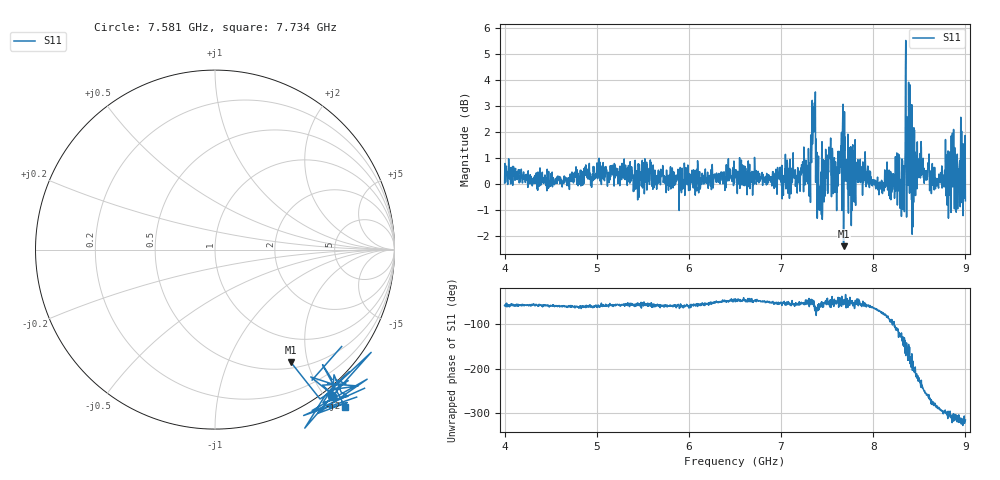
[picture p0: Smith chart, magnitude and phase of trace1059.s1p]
! Created with skrf 1.8.0 (http://scikit-rf.org).
# Hz S RI R 50.0
!freq ReS11 ImS11
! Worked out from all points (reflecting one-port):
!   1601 points, 4 GHz to 9 GHz, reference 50 ohm
!   lowest |S11| = -2.4 dB at 7.678 GHz (marker M1), VSWR 7.26, Z = 29.2 - j86.4 ohm
!   phase of S11 starts at -58 deg and turns -259 deg over the sweep
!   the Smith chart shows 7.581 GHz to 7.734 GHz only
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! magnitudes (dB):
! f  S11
! 4 GHz  0.0
! 4.625 GHz  -0.1
! 5.25 GHz  -0.1
! 5.875 GHz  0.2
! 6.5 GHz  0.4
! 7.125 GHz  0.5
! 7.294 GHz  0.0
! 7.347 GHz  2.8
! 7.362 GHz  3.1
! 7.412 GHz  -0.1
! 7.512 GHz  0.5
! 7.591 GHz  0.8
! 7.65 GHz  1.5
! 7.678 GHz  -2.4
! 7.75 GHz  -0.4
! 7.891 GHz  0.4
! 8.075 GHz  0.0
! 8.262 GHz  -0.8
! 8.316 GHz  0.9
! 8.334 GHz  0.7
! 8.375 GHz  0.7
! 8.412 GHz  1.1
! 8.447 GHz  2.1
! 8.503 GHz  0.9
! 8.684 GHz  -0.1
! 8.819 GHz  -0.2
! 8.972 GHz  0.9
! 9 GHz  -0.7
